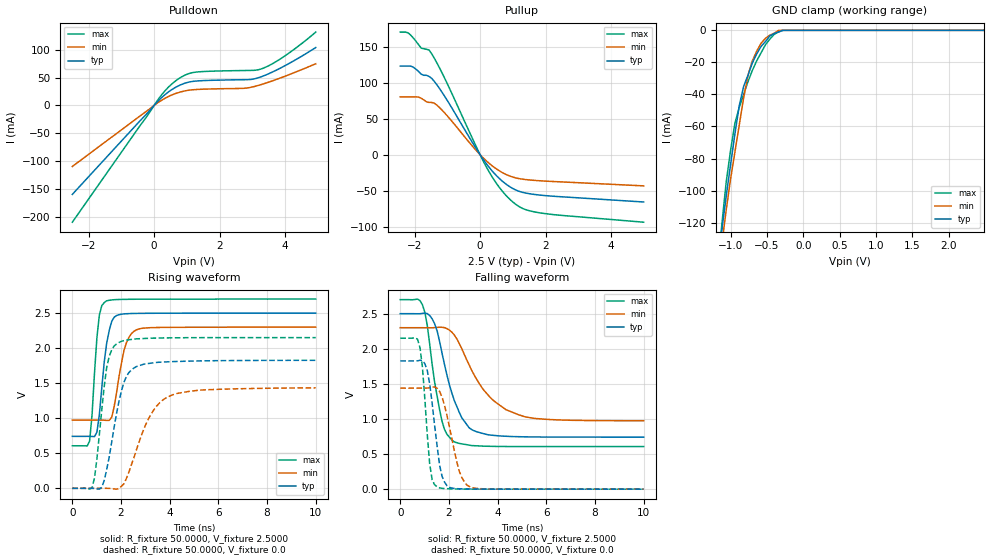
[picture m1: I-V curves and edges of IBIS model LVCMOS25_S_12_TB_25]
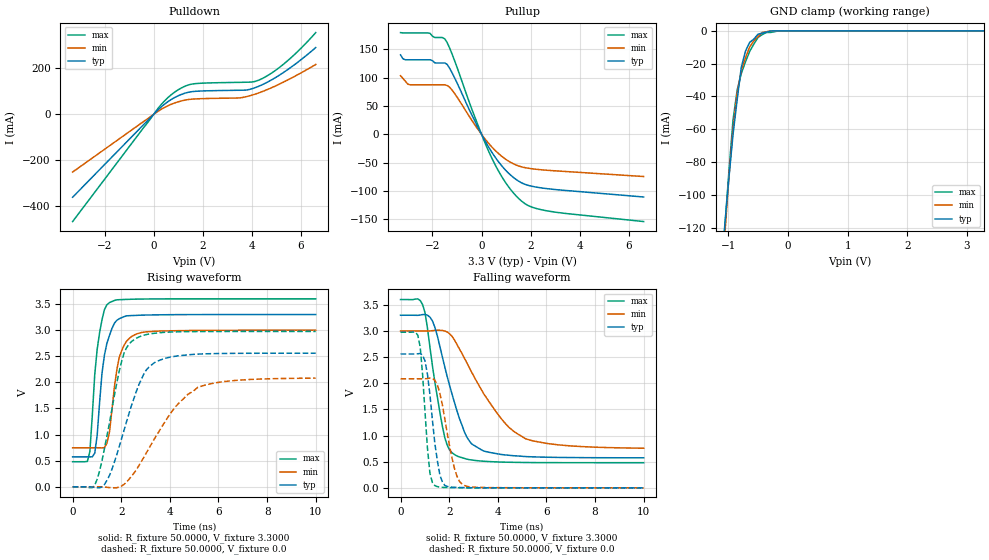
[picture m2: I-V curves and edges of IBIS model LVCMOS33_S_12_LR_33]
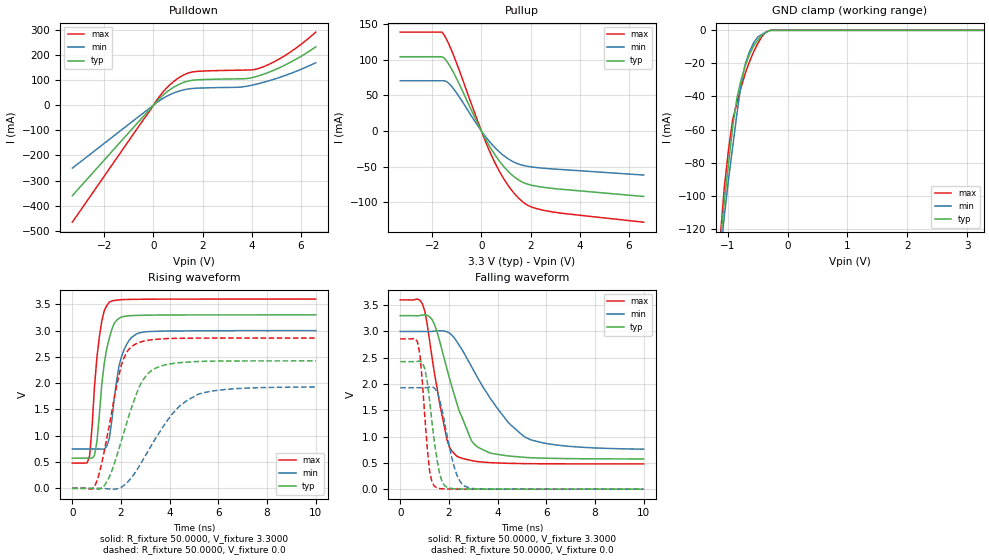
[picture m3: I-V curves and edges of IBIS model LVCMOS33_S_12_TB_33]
| / 7\'7
| \ \   Xilinx Inc.
| / /
| \_\/.\   IBIS Models for Spartan-3A
[IBIS ver]   3.2
[File name]   UART.ibs
[File Rev]   2.3
[Date]   Sun Oct  1 00:10:23 2023
[Source]   HSPICE simulations
[Notes]   IBIS models for Spartan-3A Platform
[Disclaimer]
|   The data in this model is derived from SPICE simulations using
|   modeling information extracted from the target process. While
|   a great deal of care has been taken to provide information
|   that is accurate, this model is considered preliminary as it
|   has not been verified by actual silicon measurement. Treat the
|   data in this model as preliminary until actual silicon
|   verification is performed.
|   To accurately model package parasitics, please follow the
|   instructions at:  http://www.xilinx.com/xlnx/
|   xil_ans_display.jsp?getPagePath=11754
|   LVDS and LVPECL drivers require the use of external
|   termination resistors to provide the correct voltage levels.
|   For more information, refer to the Spartan-3 documentation.
|   NOTE: This file is compliant with IBIS Version 3.2, but it
|   may not implement all approved 3.2 features.
|   NOTE:  Newer versions of the buffer models may be available.
|   Check the web (http://www.xilinx.com/support/sw_ibis.htm) for
|   the latest file revision.  However, please be aware that the
|   web files are not compatible for use with IBISWriter, and
|   must be manually annotated, should their use be preferred.
[Copyright]
| Copyright 2006, Xilinx Inc., All rights reserved
|   Component Spartan-3A
[Component]   Spartan-3A
[Manufacturer]   Xilinx Inc.
[Package]
| For Package Type tqg144
| variable   typ   min   max
R_pkg   130.00m   123.00m   137.00m
L_pkg   8.30nH   7.50nH   9.20nH
C_pkg   1.00pF   0.80pF   1.30pF
[Pin]  signal_name   model_name
P54   DataLed<1>   LVCMOS33_S_12_TB_33
P51   DataLed<2>   LVCMOS33_S_12_TB_33
P50   DataLed<3>   LVCMOS33_S_12_TB_33
P49   DataLed<4>   LVCMOS33_S_12_TB_33
P48   DataLed<5>   LVCMOS33_S_12_TB_33
P47   DataLed<6>   LVCMOS33_S_12_TB_33
P46   DataLed<7>   LVCMOS33_S_12_TB_33
P80   key<0>   LVCMOS33_S_12_TB_33
P79   key<1>   LVCMOS33_S_12_LR_33
P129   clock_12   LVCMOS33_S_12_TB_33
P58   sw<0>   LVCMOS33_S_12_TB_33
P59   sw<1>   LVCMOS33_S_12_TB_33
P60   sw<2>   LVCMOS33_S_12_TB_33
P120   SegmentEN   LVCMOS33_S_12_TB_33
P32   uart_rxd   LVCMOS33_S_12_LR_33
P63   sw<3>   LVCMOS33_S_12_TB_33
P64   sw<4>   LVCMOS33_S_12_TB_33
P68   sw<5>   LVCMOS33_S_12_TB_33
P69   sw<6>   LVCMOS33_S_12_TB_33
P31   uart_txd   LVCMOS33_S_12_LR_33
P70   sw<7>   LVCMOS33_S_12_TB_33
P114   SS_HEX1<0>   LVCMOS33_S_12_TB_33
P110   SS_HEX1<1>   LVCMOS33_S_12_TB_33
P111   SS_HEX1<2>   LVCMOS33_S_12_TB_33
P112   SS_HEX1<3>   LVCMOS33_S_12_TB_33
P113   SS_HEX1<4>   LVCMOS33_S_12_TB_33
P115   SS_HEX1<5>   LVCMOS33_S_12_TB_33
P116   SS_HEX1<6>   LVCMOS33_S_12_TB_33
P117   SS_HEX1<7>   LVCMOS33_S_12_TB_33
P55   DataLed<0>   LVCMOS33_S_12_TB_33
P2   TDI   LVCMOS25_S_12_TB_25
P1   TMS   LVCMOS25_S_12_TB_25
P4   IO_L01P_3   NC
P6   IO_L01N_3   NC
P3   IO_L02P_3   NC
P5   IO_L02N_3   NC
P7   IO_L03P_3   NC
P8   IO_L03N_3   NC
P9   GND   GND
P10   IO_L04P_3   NC
P11   IO_L04N_3/VREF_3   NC
P12   LHCLK0   NC
P13   LHCLK1   NC
P14   VCCO_3   POWER
P15   LHCLK2   NC
P16   IRDY2/LHCLK3   NC
P17   GND   GND
P18   LHCLK4   NC
P20   LHCLK5   NC
P19   TRDY2/LHCLK6   NC
P21   LHCLK7   NC
P22   VCCINT   POWER
P23   VCCO_3   POWER
P24   IO_L09P_3   NC
P25   IO_L09N_3   NC
P26   GND   GND
P27   IO_L10P_3   NC
P29   IO_L10N_3   NC
P28   IO_L11P_3   NC
P30   IO_L11N_3   NC
P33   IP_L13P_3   NC
P35   IP_L13N_3/VREF_3   NC
P34   GND   GND
P36   VCCAUX   POWER
P37   M1   LVCMOS25_S_12_TB_25
P38   M0   LVCMOS25_S_12_TB_25
P39   M2   LVCMOS25_S_12_TB_25
P41   CSO_B   LVCMOS25_S_12_TB_25
P40   VCCO_2   POWER
P42   RDWR_B   LVCMOS25_S_12_TB_25
P43   VS2   LVCMOS25_S_12_TB_25
P44   VS1   LVCMOS25_S_12_TB_25
P45   VS0   LVCMOS25_S_12_TB_25
P52   VCCINT   POWER
P53   IP_2/VREF_2   NC
P56   GND   GND
P57   GCLK0   NC
P61   VCCO_2   POWER
P62   2/MOSI/CSI_B   NC
P65   GND   GND
P66   VCCAUX   POWER
P67   INIT_B   LVCMOS25_S_12_TB_25
P71   D0/DIN/MISO   LVCMOS25_S_12_TB_25
P72   CCLK   LVCMOS25_S_12_TB_25
P73   DONE   LVCMOS25_S_12_TB_25
P74   SUSPEND   LVCMOS25_S_12_TB_25
P76   HDC   LVCMOS25_S_12_TB_25
P78   LDC2   LVCMOS25_S_12_TB_25
P75   LDC1   LVCMOS25_S_12_TB_25
P77   LDC0   LVCMOS25_S_12_TB_25
P81   GND   GND
P82   IO_L03P_1   NC
P84   IO_L03N_1   NC
P83   RHCLK0   NC
P85   RHCLK1   NC
P86   VCCO_1   POWER
P87   RHCLK2   NC
P88   TRDY1/RHCLK3   NC
P89   GND   GND
P90   RHCLK4   NC
P92   RHCLK5   NC
P91   IRDY1/RHCLK6   NC
P93   RHCLK7   NC
P94   VCCINT   POWER
P95   VCCO_1   POWER
P96   IO_L08P_1   NC
P98   IO_L08N_1   NC
P97   IP_1/VREF_1   NC
P100   GND   GND
P99   IO_L09P_1   NC
P101   IO_L09N_1   NC
P102   IO_L10P_1   NC
P104   IO_L10N_1   NC
P103   IO_L11P_1   NC
P105   IO_L11N_1   NC
P106   GND   GND
P107   TDO   LVCMOS25_S_12_TB_25
P108   VCCAUX   POWER
P109   TCK   LVCMOS25_S_12_TB_25
P118   GND   GND
P119   VCCO_0   POWER
P121   IO_L05N_0   NC
P122   VCCINT   POWER
P124   GCLK4   NC
P126   GCLK5   NC
P123   IP_0/VREF_0   NC
P125   GCLK6   NC
P127   GCLK7   NC
P128   GND   GND
P131   GCLK9   NC
P130   GCLK10   NC
P132   GCLK11   NC
P133   VCCAUX   POWER
P134   IO_L10P_0   NC
P135   IO_L10N_0   NC
P136   VCCO_0   POWER
P137   GND   GND
P138   IO_L11P_0   NC
P139   IO_L11N_0   NC
P142   0   NC
P140   0   NC
P141   IO_L12P_0/VREF_0   NC
P143   PUDC_B   LVCMOS25_S_12_TB_25
P144   PROG_B   LVCMOS25_S_12_TB_25
| Models and submodels in the file (3): LVCMOS25_S_12_TB_25 (I/O), LVCMOS33_S_12_LR_33 (I/O), LVCMOS33_S_12_TB_33 (I/O)
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|   Model LVCMOS25_S_12_TB_25
[Model]  LVCMOS25_S_12_TB_25
Model_type I/O
Polarity   Non-Inverting
Enable   Active-Low
Vinl =   0.7000V
Vinh =   1.7000V
Vmeas =  1.2500V
Cref =   0.0F
Rref =   1.0000M
Vref =   0.0V
C_comp   6.5640pF   6.1748pF   7.0674pF
[Temperature Range]   27.0000   85.0000   0.0
[Voltage Range]   2.5000V   2.3000V   2.7000V
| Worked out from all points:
|   slope of the pulldown table from 0 to 0.375 V, typ, clamps not added: 17.4 ohm
|   slope of the pullup table from 0 to 0.375 V, typ, clamps not added: 16.4 ohm
|   GND clamp passes 1 mA (typ) near -0.34 V on its own axis
|   rising waveform, R_fixture 50.0000, V_fixture 2.5000: 20-80 % time 334ps typ, 429ps min, 247ps max; typ from 0.741 V to 2.5 V
|   rising waveform, R_fixture 50.0000, V_fixture 0.0: 20-80 % time 609ps typ, 1.02ns min, 397ps max; typ from 0 V to 1.83 V
|   falling waveform, R_fixture 50.0000, V_fixture 2.5000: 20-80 % time 840ps typ, 1.44ns min, 552ps max; typ from 2.5 V to 0.742 V
|   falling waveform, R_fixture 50.0000, V_fixture 0.0: 20-80 % time 385ps typ, 550ps min, 278ps max; typ from 1.83 V to 0 V
[Pulldown]
|Voltage   I(typ)   I(min)   I(max)
-2.5V     -159.9mA   -109.7mA   -209.9mA
140mV     9.02mA     5.955mA    12.23mA
380mV     21.73mA    14.35mA    29.41mA
620mV     31.35mA    20.65mA    42.48mA
940mV     39.99mA    26.14mA    54.42mA
1.26V     43.77mA    28.56mA    59.79mA
2.78V     46.32mA    30.97mA    62.83mA
3.02V     47.28mA    33.45mA    63.07mA
3.26V     51.27mA    37.32mA    65.38mA
3.58V     59.1mA     43.46mA    73.84mA
3.98V     70.87mA    52.08mA    88.42mA
4.94V     104.1mA    74.91mA    131.9mA
[Pullup]
|Voltage   I(typ)   I(min)   I(max)
-2.44V    123.1mA    80.33mA    170.3mA
-2.2V     123.1mA    80.33mA    169.2mA
-1.8V     111.9mA    78.39mA    148mA
-1.56V    108.7mA    72.56mA    145.5mA
-1.48V    106.1mA    72.56mA    140.2mA
-1.16V    86.53mA    61.81mA    113.4mA
200mV     -13.04mA   -8.956mA   -17.71mA
600mV     -33.58mA   -22.74mA   -46.12mA
1.08V     -48.8mA    -32.15mA   -68.56mA
1.4V      -53.38mA   -34.61mA   -76.46mA
1.96V     -56.7mA    -36.63mA   -81.69mA
5V        -65.74mA   -43.34mA   -93.79mA
[GND_clamp]
|Voltage   I(typ)   I(min)   I(max)
-2.5V     -677.7mA   -618.7mA   -772.5mA
-1.12V    -125mA     -133.4mA   -121.2mA
-1.06V    -103.6mA   -112.3mA   -94.8mA
-940mV    -64.68mA   -75.98mA   -58mA
-880mV    -47mA      -59.03mA   -48mA
-820mV    -35mA      -42.08mA   -40mA
-760mV    -28mA      -28mA      -32mA
-640mV    -14.67mA   -13mA      -19mA
-580mV    -10mA      -8mA       -14mA
-460mV    -3.5mA     -3mA       -5.5mA
-340mV    -1mA       -3fA       -1mA
2.48V     0A         0A         0A
[POWER_clamp]
|Voltage   I(typ)   I(min)   I(max)
-2.49V    0A         0A         0A
-2.46V    0A         0A         0A
-2.43V    0A         0A         0A
0V        0A         0A         0A
[Ramp]
dV/dt_r  1.0956/0.6043n   0.8604/1.0142n   1.2900/0.3974n
dV/dt_f  1.0551/0.8392n   0.7954/1.4220n   1.2559/0.5422n
R_load = 50.0000
[Rising Waveform]
R_fixture= 50.0000
V_fixture= 2.5000
V_fixture_min= 2.3000
V_fixture_max= 2.7000
|time   V(typ)   V(min)   V(max)
0s        741.4mV    973.3mV    606.9mV
710ps     741.4mV    973.3mV    674.2mV
810ps     739.7mV    973.3mV    1.046V
1.01ns    801.5mV    973.4mV    2.149V
1.11ns    1.048V     973.4mV    2.471V
1.41ns    2.069V     968.1mV    2.675V
1.72ns    2.441V     1.167V     2.691V
2.12ns    2.488V     1.965V     2.696V
2.63ns    2.495V     2.261V     2.698V
10ns      2.499V     2.299V     2.7V
[Rising Waveform]
R_fixture= 50.0000
V_fixture= 0.0
|time   V(typ)   V(min)   V(max)
0s        0V         0V         0V
810ps     298uV      -497.5nV   8.107mV
1.01ns    -9.084mV   -2.353uV   421.2mV
1.21ns    15.13mV    4.964uV    1.121V
1.41ns    264.2mV    303.1uV    1.72V
1.82ns    1.074V     -11.92mV   2.06V
2.42ns    1.686V     329.4mV    2.124V
3.13ns    1.781V     992.4mV    2.14V
3.94ns    1.805V     1.306V     2.146V
10ns      1.826V     1.434V     2.15V
[Falling Waveform]
R_fixture= 50.0000
V_fixture= 2.5000
V_fixture_min= 2.3000
V_fixture_max= 2.7000
|time   V(typ)   V(min)   V(max)
0s        2.5V       2.3V       2.7V
910ps     2.504V     2.3V       2.627V
1.11ns    2.501V     2.299V     2.334V
1.41ns    2.359V     2.301V     1.53V
1.72ns    1.932V     2.306V     963.4mV
2.22ns    1.263V     2.197V     673.5mV
2.93ns    849.6mV    1.698V     621.2mV
4.34ns    753.7mV    1.133V     607.8mV
5.76ns    743.1mV    1.001V     606.9mV
10ns      741.5mV    974.3mV    606.9mV
[Falling Waveform]
R_fixture= 50.0000
V_fixture= 0.0
|time   V(typ)   V(min)   V(max)
0s        1.827V     1.439V     2.15V
810ps     1.836V     1.439V     2.018V
910ps     1.834V     1.439V     1.742V
1.21ns    1.498V     1.445V     359.5mV
1.52ns    598.7mV    1.436V     31.89mV
1.72ns    181mV      1.308V     11.63mV
1.92ns    48.9mV     1.05V      6.942mV
2.42ns    5.543mV    259.6mV    1.61mV
2.83ns    2.931mV    39.68mV    791.3uV
10ns      5.195uV    41.11uV    -3.669uV
|   Model LVCMOS33_S_12_LR_33
[Model]  LVCMOS33_S_12_LR_33
Model_type I/O
Polarity   Non-Inverting
Enable   Active-Low
Vinl =   0.8000V
Vinh =   2.0000V
Vmeas =  1.6500V
Cref =   0.0F
Rref =   1.0000M
Vref =   0.0V
C_comp   6.5640pF   6.1748pF   7.0674pF
[Temperature Range]   27.0000   85.0000   0.0
[Voltage Range]   3.3000V   3.0000V   3.6000V
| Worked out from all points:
|   slope of the pulldown table from 0 to 0.495 V, typ, clamps not added: 10.2 ohm
|   slope of the pullup table from 0 to 0.495 V, typ, clamps not added: 13.5 ohm
|   GND clamp passes 1 mA (typ) near -0.38 V on its own axis
|   rising waveform, R_fixture 50.0000, V_fixture 3.3000: 20-80 % time 384ps typ, 418ps min, 347ps max; typ from 0.574 V to 3.3 V
|   rising waveform, R_fixture 50.0000, V_fixture 0.0: 20-80 % time 1.07ns typ, 1.77ns min, 755ps max; typ from 0 V to 2.56 V
|   falling waveform, R_fixture 50.0000, V_fixture 3.3000: 20-80 % time 997ps typ, 1.81ns min, 625ps max; typ from 3.3 V to 0.574 V
|   falling waveform, R_fixture 50.0000, V_fixture 0.0: 20-80 % time 377ps typ, 512ps min, 275ps max; typ from 2.56 V to 0 V
[Pulldown]
|Voltage   I(typ)   I(min)   I(max)
-3.3V     -360mA     -250.6mA   -465.5mA
200mV     21.85mA    14.84mA    28.86mA
800mV     69.71mA    47.2mA     92.06mA
1.2V      89.27mA    60.04mA    118.4mA
1.6V      98.98mA    66.27mA    132.1mA
3.5V      104.5mA    71.5mA     138.9mA
3.9V      108mA      80.18mA    139.8mA
4.3V      122.8mA    93.89mA    149.4mA
4.8V      149.6mA    115.5mA    179.1mA
5.4V      190mA      146mA      227.8mA
6V        237.3mA    180mA      287mA
6.6V      290.1mA    216.5mA    355mA
[Pullup]
|Voltage   I(typ)   I(min)   I(max)
-3.3V     140.2mA    103.5mA    179.5mA
-3.2V     133.2mA    98.57mA    178.9mA
-2.9V     131.6mA    87.36mA    178.9mA
-2.1V     131.6mA    87.36mA    178.2mA
-1.5V     125.9mA    87.36mA    168.5mA
-1.2V     108.6mA    78.07mA    141.5mA
-400mV    34.4mA     24.95mA    44.87mA
400mV     -30.29mA   -21.31mA   -40.3mA
1V        -64.15mA   -44.35mA   -86.41mA
1.7V      -86.86mA   -58.04mA   -120.1mA
2.8V      -96.35mA   -63.68mA   -135.8mA
6.6V      -110.4mA   -74.31mA   -153.7mA
[GND_clamp]
|Voltage   I(typ)   I(min)   I(max)
-3.3V     -1.34A     -1.43A     -1.52A
-1.06V    -119.5mA   -126.2mA   -121mA
-990mV    -90.2mA    -89.8mA    -86.5mA
-920mV    -63.3mA    -60mA      -54.4mA
-850mV    -41.9mA    -37.7mA    -36mA
-780mV    -22mA      -24mA      -25.9mA
-710mV    -12.3mA    -16.3mA    -18.8mA
-640mV    -7mA       -9.8mA     -12.5mA
-500mV    -2mA       -3.5mA     -4mA
-430mV    -1.4mA     -1mA       -2.3mA
-150mV    0A         0A         0A
3.28V     0A         0A         0A
[POWER_clamp]
|Voltage   I(typ)   I(min)   I(max)
-3.28V    0A         0A         0A
-3.24V    0A         0A         0A
-3.2V     0A         0A         0A
0V        0A         0A         0A
[Ramp]
dV/dt_r  1.5354/1.0608n   1.2486/1.7531n   1.7850/0.7448n
dV/dt_f  1.6353/0.9868n   1.3454/1.8017n   1.8716/0.6155n
R_load = 50.0000
[Rising Waveform]
R_fixture= 50.0000
V_fixture= 3.3000
V_fixture_min= 3.0000
V_fixture_max= 3.6000
|time   V(typ)   V(min)   V(max)
0s        574mV      747.8mV    480.6mV
610ps     574mV      747.8mV    487.2mV
710ps     573.4mV    747.8mV    674.8mV
910ps     643.9mV    747.8mV    2.147V
1.01ns    983.8mV    747.9mV    2.632V
1.21ns    2.181V     745mV      3.203V
1.52ns    2.905V     1.057V     3.529V
1.92ns    3.22V      2.484V     3.583V
2.53ns    3.281V     2.906V     3.593V
10ns      3.299V     2.999V     3.599V
[Rising Waveform]
R_fixture= 50.0000
V_fixture= 0.0
|time   V(typ)   V(min)   V(max)
0s        0V         0V         0V
910ps     -13.05mV   -5.695uV   32.86mV
1.41ns    122.1mV    -9.859mV   971.7mV
2.02ns    932.9mV    17.1mV     2.408V
2.53ns    1.703V     265.6mV    2.818V
2.93ns    2.161V     566.1mV    2.903V
3.33ns    2.366V     891mV      2.938V
4.24ns    2.501V     1.539V     2.967V
5.15ns    2.541V     1.905V     2.973V
10ns      2.559V     2.081V     2.975V
[Falling Waveform]
R_fixture= 50.0000
V_fixture= 3.3000
V_fixture_min= 3.0000
V_fixture_max= 3.6000
|time   V(typ)   V(min)   V(max)
0s        3.3V       3V         3.6V
910ps     3.313V     3V         3.502V
1.01ns    3.313V     2.999V     3.346V
1.31ns    3.194V     3.005V     2.341V
1.82ns    2.312V     2.998V     959.2mV
2.22ns    1.629V     2.826V     637.2mV
2.93ns    837.7mV    2.208V     532.1mV
4.14ns    638.1mV    1.325V     493mV
5.05ns    601.1mV    963.6mV    485.1mV
10ns      574.5mV    757.6mV    480.7mV
[Falling Waveform]
R_fixture= 50.0000
V_fixture= 0.0
|time   V(typ)   V(min)   V(max)
0s        2.559V     2.085V     2.975V
710ps     2.563V     2.085V     2.918V
810ps     2.569V     2.085V     2.689V
1.01ns    2.422V     2.086V     1.43V
1.21ns    1.777V     2.098V     277.5mV
1.41ns    855.8mV    2.056V     43.65mV
1.82ns    46.5mV     1.322V     6.418mV
2.22ns    9.843mV    368.6mV    2.455mV
2.63ns    4.799mV    44.21mV    1.191mV
10ns      7.543uV    69.39uV    20.94uV
|   Model LVCMOS33_S_12_TB_33
[Model]  LVCMOS33_S_12_TB_33
Model_type I/O
Polarity   Non-Inverting
Enable   Active-Low
Vinl =   0.8000V
Vinh =   2.0000V
Vmeas =  1.6500V
Cref =   0.0F
Rref =   1.0000M
Vref =   0.0V
C_comp   6.5640pF   6.1748pF   7.0674pF
[Temperature Range]   27.0000   85.0000   0.0
[Voltage Range]   3.3000V   3.0000V   3.6000V
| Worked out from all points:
|   slope of the pulldown table from 0 to 0.495 V, typ, clamps not added: 10.2 ohm
|   slope of the pullup table from 0 to 0.495 V, typ, clamps not added: 16.2 ohm
|   GND clamp passes 1 mA (typ) near -0.34 V on its own axis
|   rising waveform, R_fixture 50.0000, V_fixture 3.3000: 20-80 % time 410ps typ, 461ps min, 342ps max; typ from 0.574 V to 3.3 V
|   rising waveform, R_fixture 50.0000, V_fixture 0.0: 20-80 % time 1.03ns typ, 1.66ns min, 734ps max; typ from 0 V to 2.42 V
|   falling waveform, R_fixture 50.0000, V_fixture 3.3000: 20-80 % time 1.1ns typ, 1.91ns min, 690ps max; typ from 3.3 V to 0.575 V
|   falling waveform, R_fixture 50.0000, V_fixture 0.0: 20-80 % time 403ps typ, 543ps min, 294ps max; typ from 2.42 V to 0 V
[Pulldown]
|Voltage   I(typ)   I(min)   I(max)
-3.3V     -360.1mA   -250.7mA   -465.6mA
200mV     21.85mA    14.84mA    28.86mA
500mV     48.84mA    33.15mA    64.43mA
900mV     75.44mA    51.02mA    99.68mA
1.3V      92.75mA    62.25mA    123.2mA
1.6V      98.98mA    66.27mA    132.1mA
3.5V      104.5mA    71.31mA    138.9mA
4.3V      117.1mA    86.12mA    146.5mA
4.8V      134.9mA    99.88mA    166.9mA
5.4V      161.7mA    119.4mA    200.3mA
6V        193.9mA    142.3mA    241.6mA
6.6V      231.6mA    168.5mA    290.4mA
[Pullup]
|Voltage   I(typ)   I(min)   I(max)
-3.3V     104.3mA    70.56mA    138.9mA
-1.6V     104.3mA    70.56mA    138.9mA
-1.4V     97.62mA    69.08mA    127.6mA
-1.2V     86.28mA    62.17mA    112.1mA
100mV     -6.808mA   -4.816mA   -9.019mA
500mV     -30.74mA   -21.57mA   -40.96mA
800mV     -45.31mA   -31.54mA   -60.74mA
1.1V      -57.07mA   -39.31mA   -77.09mA
1.7V      -72.39mA   -48.37mA   -100.1mA
2.1V      -76.6mA    -50.74mA   -107.5mA
2.9V      -80.68mA   -53.32mA   -113.7mA
6.6V      -91.96mA   -61.89mA   -128.1mA
[GND_clamp]
|Voltage   I(typ)   I(min)   I(max)
-3.3V     -1A        -900mA     -1.15A
-1.13V    -128.6mA   -136.9mA   -126mA
-1.06V    -103.6mA   -112.3mA   -94.8mA
-990mV    -80.74mA   -90.11mA   -72mA
-920mV    -58.26mA   -70.33mA   -54mA
-850mV    -41mA      -50.55mA   -44mA
-780mV    -30mA      -32.5mA    -34.5mA
-710mV    -21.5mA    -20.25mA   -26mA
-570mV    -9.5mA     -7.5mA     -13mA
-430mV    -2.75mA    -2.4mA     -3.625mA
-360mV    -1.333mA   -1mA       -1mA
3.28V     0A         0A         0A
[POWER_clamp]
|Voltage   I(typ)   I(min)   I(max)
-3.28V    0A         0A         0A
-3.24V    0A         0A         0A
-3.2V     0A         0A         0A
0V        0A         0A         0A
[Ramp]
dV/dt_r  1.4550/1.0164n   1.1562/1.6481n   1.7148/0.7240n
dV/dt_f  1.6352/1.0886n   1.3438/1.8918n   1.8716/0.6803n
R_load = 50.0000
[Rising Waveform]
R_fixture= 50.0000
V_fixture= 3.3000
V_fixture_min= 3.0000
V_fixture_max= 3.6000
|time   V(typ)   V(min)   V(max)
0s        574mV      747.8mV    480.6mV
710ps     573.6mV    747.8mV    616.1mV
910ps     623.4mV    747.8mV    1.929V
1.01ns    883mV      747.9mV    2.489V
1.21ns    1.976V     745.7mV    3.179V
1.52ns    2.857V     952.8mV    3.542V
1.92ns    3.234V     2.334V     3.584V
2.22ns    3.276V     2.726V     3.592V
2.63ns    3.288V     2.936V     3.595V
10ns      3.3V       2.999V     3.6V
[Rising Waveform]
R_fixture= 50.0000
V_fixture= 0.0
|time   V(typ)   V(min)   V(max)
0s        0V         0V         0V
810ps     -2.513mV   -1.798uV   -11.65mV
1.01ns    -15.37mV   -7.11uV    137.3mV
1.52ns    216mV      -12.09mV   1.196V
2.02ns    913.7mV    21.66mV    2.354V
2.53ns    1.662V     265.1mV    2.725V
3.33ns    2.263V     881.7mV    2.831V
4.34ns    2.386V     1.534V     2.854V
5.15ns    2.412V     1.786V     2.857V
10ns      2.425V     1.927V     2.858V
[Falling Waveform]
R_fixture= 50.0000
V_fixture= 3.3000
V_fixture_min= 3.0000
V_fixture_max= 3.6000
|time   V(typ)   V(min)   V(max)
0s        3.3V       3V         3.6V
910ps     3.312V     3V         3.524V
1.11ns    3.308V     2.999V     3.127V
1.41ns    3.13V      3.007V     2.191V
1.92ns    2.285V     2.993V     940.5mV
2.32ns    1.642V     2.812V     628.2mV
3.13ns    818.8mV    2.161V     527.3mV
4.44ns    631.6mV    1.268V     491.6mV
5.15ns    603.4mV    983.7mV    485.6mV
10ns      574.7mV    760.3mV    480.7mV
[Falling Waveform]
R_fixture= 50.0000
V_fixture= 0.0
|time   V(typ)   V(min)   V(max)
0s        2.425V     1.93V      2.858V
710ps     2.429V     1.93V      2.801V
810ps     2.438V     1.93V      2.559V
1.01ns    2.29V      1.93V      1.38V
1.21ns    1.672V     1.942V     334mV
1.41ns    863mV      1.921V     53.29mV
1.82ns    67.6mV     1.272V     5.203mV
2.22ns    8.169mV    417.9mV    2.295mV
2.63ns    3.633mV    63.16mV    1.103mV
10ns      17.07uV    113.8uV    2.725uV
